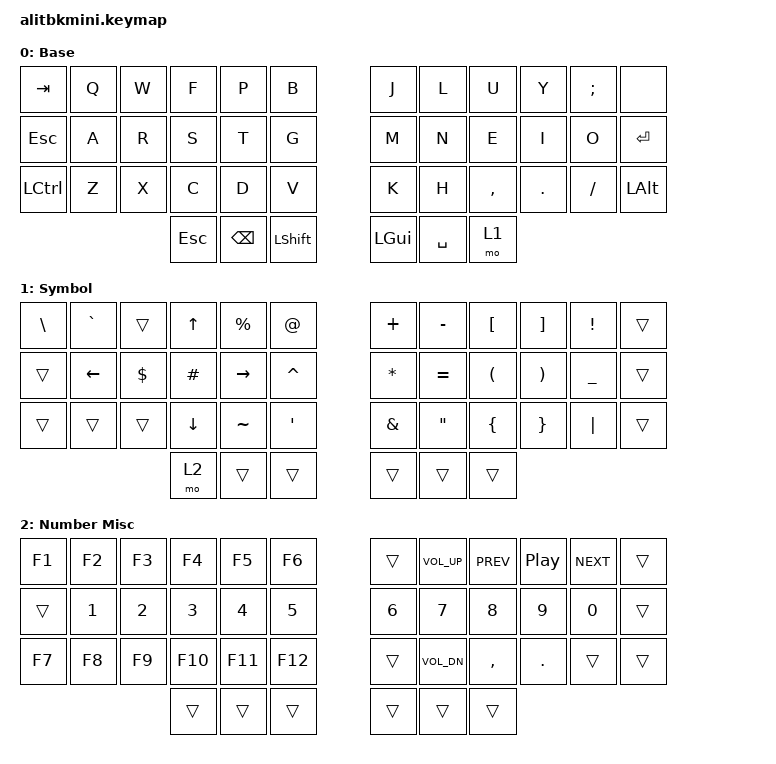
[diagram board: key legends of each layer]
#include <behaviors.dtsi>
#include <dt-bindings/zmk/keys.h>

/ {
    keymap {
        compatible = "zmk,keymap";

        default_layer {
            display-name = "Base";
            bindings = <
    &kp TAB   &kp Q &kp W &kp F   &kp P    &kp B          &kp J    &kp L     &kp U     &kp Y   &kp SEMI &none
    &kp ESC   &kp A &kp R &kp S   &kp T    &kp G          &kp M    &kp N     &kp E     &kp I   &kp O    &kp RET
    &kp LCTRL &kp Z &kp X &kp C   &kp D    &kp V          &kp K    &kp H     &kp COMMA &kp DOT &kp FSLH &kp LALT
                          &kp ESC &kp BSPC &kp LSHIFT     &kp LGUI &kp SPACE &mo 1
            >;
        };

        symbol_layer {
            display-name = "Symbol";
            bindings = <
    &kp BSLH &kp GRAVE &trans   &kp UP   &kp PRCNT &kp AT        &kp PLUS &kp MINUS &kp LBKT &kp RBKT &kp EXCL  &trans
    &trans   &kp LEFT  &kp DLLR &kp HASH &kp RIGHT &kp CARET     &kp STAR &kp EQUAL &kp LPAR &kp RPAR &kp UNDER &trans
    &trans   &trans    &trans   &kp DOWN &kp TILDE &kp SQT       &kp AMPS &kp DQT   &kp LBRC &kp RBRC &kp PIPE  &trans
                                &mo 2    &trans    &trans        &trans   &trans    &trans
            >;
        };

        number_misc_layer {
            display-name = "Number Misc";
            bindings = <
    &kp F1 &kp F2 &kp F3 &kp F4  &kp F5  &kp F6      &trans &kp C_VOL_UP &kp C_PREV &kp C_PP &kp C_NEXT &trans
    &trans &kp N1 &kp N2 &kp N3  &kp N4  &kp N5      &kp N6 &kp N7       &kp N8     &kp N9   &kp N0     &trans
    &kp F7 &kp F8 &kp F9 &kp F10 &kp F11 &kp F12     &trans &kp C_VOL_DN &kp COMMA  &kp DOT  &trans     &trans
                         &trans  &trans  &trans      &trans &trans       &trans
            >;
        };
    };
};
